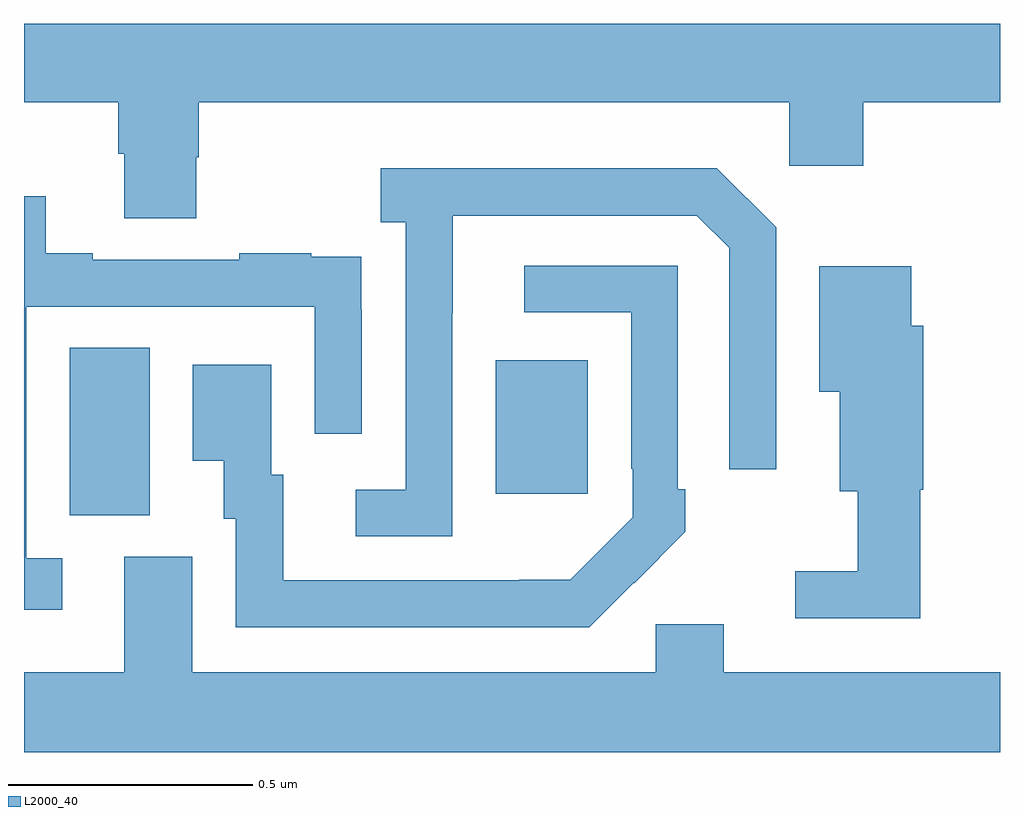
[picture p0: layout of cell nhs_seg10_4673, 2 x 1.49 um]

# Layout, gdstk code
import gdstk
lib = gdstk.Library(unit=1e-6, precision=1e-09)
def R(c, l, rs):  # rectangles x0, y0, x1, y1
    for r in rs: c.add(gdstk.rectangle(r[:2], r[2:], *l))
def P(c, l, *ps):  # polygons
    for p in ps: c.add(gdstk.Polygon(p, *l))
L2000_40 = (2000, 40)

nhs_seg10_4673 = lib.new_cell('nhs_seg10_4673')
R(nhs_seg10_4673, L2000_40, [(169.094,1275.493,169.258,1275.836), (169.967,1275.537,170.155,1275.811)])
P(nhs_seg10_4673, L2000_40, [(170.568,1276.209),(170.72,1276.209),(170.72,1276.34),(171,1276.34),(171,1276.5),(169,1276.5),(169,1276.34),(169.193,1276.34),(169.193,1276.234),(169.205,1276.234),(169.205,1276.102),(169.353,1276.102),(169.353,1276.227),(169.358,1276.227),(169.358,1276.34),(170.568,1276.34)],
  [(169.878,1275.907),(169.879,1275.907),(169.879,1276.107),(170.379,1276.107),(170.445,1276.041),(170.445,1275.588),(170.541,1275.588),(170.541,1276.083),(170.42,1276.204),(169.731,1276.204),(169.731,1276.094),(169.782,1276.094),(169.782,1275.546),(169.68,1275.546),(169.68,1275.45),(169.878,1275.45)],
  [(169.078,1275.405),(169.005,1275.405),(169.005,1275.921),(169.596,1275.921),(169.596,1275.66),(169.692,1275.66),(169.692,1275.914),(169.691,1275.914),(169.691,1276.023),(169.589,1276.023),(169.589,1276.03),(169.441,1276.03),(169.441,1276.017),(169.141,1276.017),(169.141,1276.03),(169.045,1276.03),(169.045,1276.147),(169,1276.147),(169,1275.3),(169.078,1275.3)],
  [(170.249,1275.355),(170.25,1275.354),(170.355,1275.459),(170.355,1275.547),(170.34,1275.547),(170.34,1276.005),(170.025,1276.005),(170.025,1275.909),(170.244,1275.909),(170.244,1275.589),(170.247,1275.589),(170.247,1275.489),(170.119,1275.361),(170.015,1275.361),(170.015,1275.36),(169.531,1275.36),(169.531,1275.576),(169.507,1275.576),(169.507,1275.802),(169.346,1275.802),(169.346,1275.605),(169.409,1275.605),(169.409,1275.486),(169.434,1275.486),(169.434,1275.264),(170.158,1275.264)],
  [(170.837,1275.546),(170.843,1275.546),(170.843,1275.882),(170.818,1275.882),(170.818,1276.003),(170.63,1276.003),(170.63,1275.746),(170.672,1275.746),(170.672,1275.542),(170.709,1275.542),(170.709,1275.379),(170.58,1275.379),(170.58,1275.282),(170.837,1275.282)],
  [(171,1275.172),(170.434,1275.172),(170.434,1275.27),(170.295,1275.27),(170.295,1275.172),(169.345,1275.172),(169.345,1275.408),(169.205,1275.408),(169.205,1275.172),(169,1275.172),(169,1275.008),(171,1275.008)])

lib.write_gds('nhs_seg10_4673.gds')
